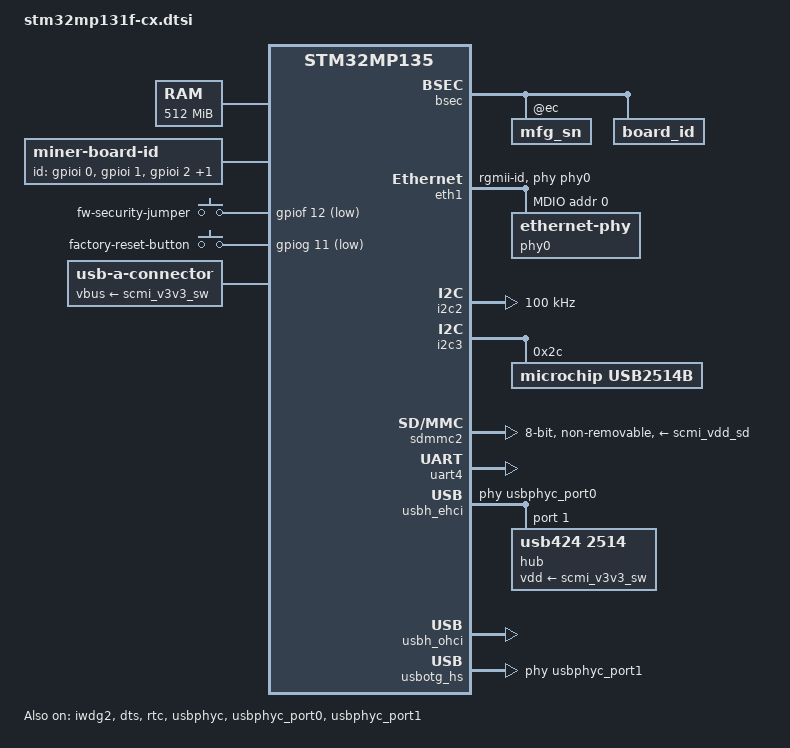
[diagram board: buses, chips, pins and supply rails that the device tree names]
/* SPDX-License-Identifier: (GPL-2.0+ OR BSD-3-Clause) */
/*
* Copyright (C) STMicroelectronics 2024 - All Rights Reserved
* Author: STM32CubeMX code generation for STMicroelectronics.
*/

#include <dt-bindings/pinctrl/stm32-pinfunc.h>
#include <dt-bindings/gpio/gpio.h>
#include <dt-bindings/input/input.h>
#include <dt-bindings/rtc/rtc-stm32.h>
#include "stm32mp135.dtsi"
#include "stm32mp13xf.dtsi"
#include "stm32mp13-pinctrl.dtsi"

/ {
    manufacturer-name = "Block";
    product-name = "Proto";
    board-rev = "Cx-xyz"; /* This should be overridden in the board specific DTS */
    soc-name = "STM32MP131F";
    descriptive-name = "Miner Controller Board";

    chosen {
        #address-cells = <1>;
        #size-cells = <1>;
        ranges;
        stdout-path = "serial0:115200n8";
    };

    memory@c0000000 {
        device_type = "memory";
        reg = <0xc0000000 0x20000000>;
    };

    reserved-memory {
        #address-cells = <1>;
        #size-cells = <1>;
        ranges;

        bootcount@dcfffff0 {
            reg = <0xdcfffff0 0x0000010>;
            no-map;
        };

        optee_framebuffer@dd000000 {
            reg = <0xdd000000 0x1000000>;
            no-map;
        };

        optee@de000000 {
            reg = <0xde000000 0x2000000>;
            no-map;
        };
    };

    board-id {
        compatible = "miner-board-id";
        id-gpios = <&gpioi 0 GPIO_ACTIVE_HIGH>, /* PI0 */
                   <&gpioi 1 GPIO_ACTIVE_HIGH>, /* PI1 */
                   <&gpioi 2 GPIO_ACTIVE_HIGH>, /* PI2 */
                   <&gpioi 3 GPIO_ACTIVE_HIGH>; /* PI3 */
    };

    /* Common security jumper */
    fw-security-jumper {
        status = "okay";
        compatible = "gpio-keys";

        fw-security-jumper {
            label = "fw-security-jumper";
            gpios = <&gpiof 12 GPIO_ACTIVE_LOW>;
            linux,code = <BTN_2>;
        };
    };

    factory-reset-button {
        status = "okay";
        compatible = "gpio-keys";
        #address-cells = <1>;
        #size-cells = <0>;
        autorepeat;

        factory-reset-button {
            label = "factory-reset-button";
            linux,code = <KEY_RESTART>;
            gpios = <&gpiog 11 GPIO_ACTIVE_LOW>;
            interrupt-parent = <&gpiog>;
            interrupts = <11 IRQ_TYPE_EDGE_BOTH>;
        };
    };
};

&cpu0 {
    cpu-supply = <&scmi_vddcore>;
    clock-frequency = <1000000000>;
};

&iwdg2 {
    status = "okay";
    timeout-sec = <32>;
};

&bsec {
    status = "okay";

    mac_addr: mac_addr@e4 {
        reg = <0xe4 0x8>;
        st,non-secure-otp;
    };

    mfg_sn: mfg_sn@ec {
        reg = <0xec 0x10>;
        st,non-secure-otp;
    };

    board_id: board_id@100 {
        reg = <0x100 0x4>;
        st,non-secure-otp;
    };
};

&dma1 {
    status = "okay";
    sram = <&dma_pool>;
};

&dma2 {
    status = "okay";
    sram = <&dma_pool>;
};

&dts {
    status = "okay";
};

/* Common Ethernet configuration */
&eth1 {
    pinctrl-names = "default", "sleep";
    pinctrl-0 = <&eth1_pins_mx>;
    pinctrl-1 = <&eth1_sleep_pins_mx>;
    status = "okay";

    phy-mode = "rgmii-id";
    max-speed = <1000>;
    phy-handle = <&phy0>;
    nvmem-cells = <&ethernet_mac1_address>;
    nvmem-cell-names = "mac-address";

    mdio0 {
        #address-cells = <1>;
        #size-cells = <0>;
        compatible = "snps,dwmac-mdio";

        phy0: ethernet-phy@0 {
            reg = <0>;
        };
    };
};

&mdma {
    status = "okay";
};

&rcc {
    status = "okay";
};

&rtc {
    status = "okay";
    // For RTC clock source selection, refer to the clock settings in optee-os rcc node
};

/* Common SCMI regulator definitions */
&scmi_regu {
    scmi_vddcpu: voltd-vddcpu {
        voltd-name = "vddcpu";
        regulator-name = "vddcpu";
    };
    scmi_vdd: voltd-vdd {
        voltd-name = "vdd";
        regulator-name = "vdd";
    };
    scmi_vddcore: voltd-vddcore {
        voltd-name = "vddcore";
        regulator-name = "vddcore";
    };
    scmi_vdd_adc: voltd-vdd_adc {
        voltd-name = "vdd_adc";
        regulator-name = "vdd_adc";
    };
    scmi_vdd_usb: voltd-vdd_usb {
        voltd-name = "vdd_usb";
        regulator-name = "vdd_usb";
    };
    scmi_vdd_sd: voltd-vdd_sd {
        voltd-name = "vdd_sd";
        regulator-name = "vdd_sd";
    };
    scmi_v1v8_periph: voltd-v1v8_periph {
        voltd-name = "v1v8_periph";
        regulator-name = "v1v8_periph";
    };
    scmi_v3v3_sw: voltd-v3v3_sw {
        voltd-name = "v3v3_sw";
        regulator-name = "v3v3_sw";
    };
    /*
    * Note: LDO1 from STPMIC1 is configured as always-on in TF-A and not exposed here.
    * It provides 3.3V to various peripherals including USB hubs. Since these
    * peripherals don't need runtime power management, the regulator is kept
    * always on in TF-A and not made available through SCMI.
    *
    * If runtime control is needed, LDO1 would need to be configured as not
    * always-on in TF-A, and then defined here as:
    * scmi_ldo1: voltd-ldo1 {
        *     voltd-name = "ldo1_3v3";
        *     regulator-name = "ldo1_3v3";
    * };
    */
};

/* Common PMIC I2C configuration */
&i2c2 {
    status = "okay";
    clock-frequency = <100000>;
    pinctrl-names = "default", "sleep";
    pinctrl-0 = <&i2c2_pins_mx>;
    pinctrl-1 = <&i2c2_sleep_pins_mx>;
    /delete-property/ dmas;
    /delete-property/ dma-names;
};

/* Common I2C3 configuration for 4 port USB hub */
&i2c3 {
    status = "okay";
    pinctrl-names = "default", "sleep";
    pinctrl-0 = <&i2c3_pins_mx>;
    pinctrl-1 = <&i2c3_sleep_pins_mx>;

    /delete-property/ dmas;
    /delete-property/ dma-names;

    usb2514b@2c {
        compatible = "microchip,usb2514b";
        reg = <0x2c>;
        vendor-id = /bits/ 16 <0x0000>;
        product-id = /bits/ 16 <0x0000>;
        string-support;
        manufacturer = "Block Inc";
        product = "Cx"; /* The product name should be overridden in the board-specific DTS file */
    };
};

/* Common SDMMC2 configuration */
&sdmmc1 {
    // No SD card slot on C2/C3 - needed for uboot
    status = "disabled";
};

&sdmmc2 {
    status = "okay";
    pinctrl-names = "default", "opendrain", "sleep";
    pinctrl-0 = <&sdmmc2_pins_mx>;
    pinctrl-1 = <&sdmmc2_opendrain_pins_mx>;
    pinctrl-2 = <&sdmmc2_sleep_pins_mx>;
    bus-width = <8>;
    no-sd;
    no-sdio;
    non-removable;
    st,neg-edge;
    vmmc-supply = <&scmi_vdd_sd>;
};

/* Common UART4 configuration */
&uart4 {
    status = "okay";
    pinctrl-names = "default", "sleep";
    pinctrl-0 = <&uart4_pins_mx>;
    pinctrl-1 = <&uart4_sleep_pins_mx>;
    /delete-property/ dmas;
    /delete-property/ dma-names;
};

/* Common USB OTG configuration */

&usbh_ehci {
    status = "okay";

    phys = <&usbphyc_port0>;
    phy-names = "usb";
    #address-cells = <1>;
    #size-cells = <0>;

    hub@1 {
        compatible = "usb424,2514";
        reg = <1>;
        vdd-supply = <&scmi_v3v3_sw>;
    };
};

&usbh_ohci {
    status = "okay";
};

&usbotg_hs {
    status = "okay";
    pinctrl-names = "default", "sleep";
    pinctrl-0 = <&usb_otg_hs_pins_mx>;
    pinctrl-1 = <&usb_otg_hs_sleep_pins_mx>;

    phys = <&usbphyc_port1 0>;
    phy-names = "usb2-phy";
    usb-role-switch;
};

&usbphyc {
    status = "okay";
};

&usbphyc_port0{
    status = "okay";

    phy-supply = <&scmi_vdd_usb>;
    st,tune-hs-dc-level = <2>;
    st,enable-fs-rftime-tuning;
    st,enable-hs-rftime-reduction;
    st,trim-hs-current = <15>;
    st,trim-hs-impedance = <1>;
    st,tune-squelch-level = <3>;
    st,tune-hs-rx-offset = <2>;
    st,no-lsfs-sc;

    /*
    * Hack to keep hub active until all connected devices are suspended
    * otherwise the hub will be powered off as soon as the v3v3 is disabled
    * and it can disturb connected devices.
    */
    connector {
        compatible = "usb-a-connector";
        vbus-supply = <&scmi_v3v3_sw>;
    };
};

&usbphyc_port1{
    status = "okay";

    phy-supply = <&scmi_vdd_usb>;
    st,tune-hs-dc-level = <2>;
    st,enable-fs-rftime-tuning;
    st,enable-hs-rftime-reduction;
    st,trim-hs-current = <15>;
    st,trim-hs-impedance = <1>;
    st,tune-squelch-level = <3>;
    st,tune-hs-rx-offset = <2>;
    st,no-lsfs-sc;
};

&sram {
    dma_pool: dma_pool@0 {
        reg = <0x50000 0x10000>;
        pool;
    };
};

&spi5 {
    #address-cells = <1>;
    #size-cells = <0>;
    reg = <0x4C003000 0x400>;
    status = "disabled";
};
